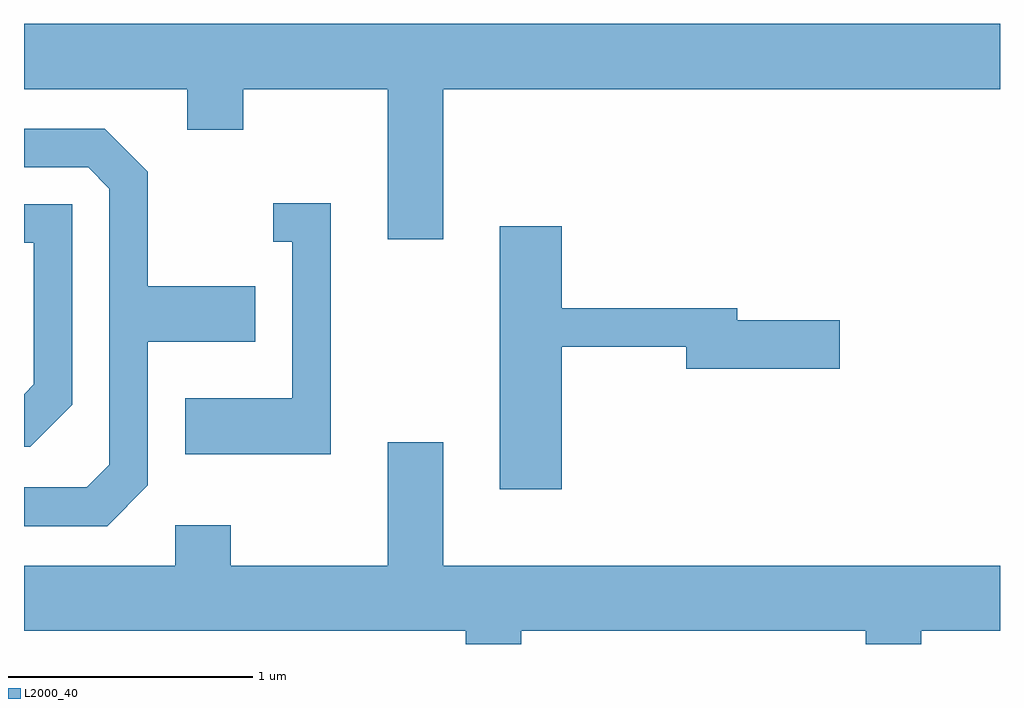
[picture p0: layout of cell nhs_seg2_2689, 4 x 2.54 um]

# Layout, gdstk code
import gdstk
lib = gdstk.Library(unit=1e-6, precision=1e-09)
def P(c, l, *ps):  # polygons
    for p in ps: c.add(gdstk.Polygon(p, *l))
L2000_40 = (2000, 40)

nhs_seg2_2689 = lib.new_cell('nhs_seg2_2689')
P(nhs_seg2_2689, L2000_40, [(265.329,1066.076),(267.611,1066.076),(267.611,1066.344),(263.611,1066.344),(263.611,1066.076),(264.281,1066.076),(264.281,1065.911),(264.509,1065.911),(264.509,1066.076),(265.101,1066.076),(265.101,1065.461),(265.329,1065.461)],
  [(264.119,1064.454),(264.119,1065.041),(264.559,1065.041),(264.559,1065.269),(264.119,1065.269),(264.119,1065.737),(263.942,1065.914),(263.611,1065.914),(263.611,1065.756),(263.874,1065.756),(263.961,1065.669),(263.961,1064.537),(263.869,1064.444),(263.611,1064.444),(263.611,1064.286),(263.952,1064.286)],
  [(264.869,1065.609),(264.633,1065.609),(264.633,1065.451),(264.711,1065.451),(264.711,1064.809),(264.271,1064.809),(264.271,1064.581),(264.869,1064.581)],
  [(263.809,1064.784),(263.809,1065.604),(263.611,1065.604),(263.611,1065.446),(263.651,1065.446),(263.651,1064.867),(263.611,1064.827),(263.611,1064.611),(263.637,1064.611)],
  [(265.814,1065.021),(266.326,1065.021),(266.326,1064.931),(266.954,1064.931),(266.954,1065.129),(266.534,1065.129),(266.534,1065.179),(265.814,1065.179),(265.814,1065.514),(265.561,1065.514),(265.561,1064.436),(265.814,1064.436)],
  [(264.231,1064.289),(264.231,1064.124),(263.611,1064.124),(263.611,1063.856),(265.421,1063.856),(265.421,1063.802),(265.649,1063.802),(265.649,1063.856),(267.061,1063.856),(267.061,1063.802),(267.289,1063.802),(267.289,1063.856),(267.611,1063.856),(267.611,1064.124),(265.329,1064.124),(265.329,1064.629),(265.101,1064.629),(265.101,1064.124),(264.459,1064.124),(264.459,1064.289)])

lib.write_gds('nhs_seg2_2689.gds')
